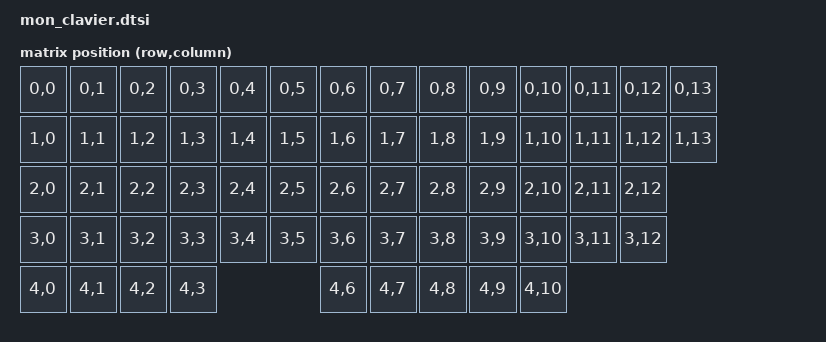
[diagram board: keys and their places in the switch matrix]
#include <dt-bindings/zmk/matrix_transform.h>
#include <physical_layouts.dtsi>

/ {
    matrix_transform0: matrix_transform_0 {
        compatible = "zmk,matrix-transform";
        columns = <14>; // 6 colonnes à gauche + 8 colonnes à droite
        rows = <5>;

        map = <
            // RANGÉE 0 : 6 touches à gauche (0-5), 8 touches à droite (6-13)
            RC(0,0) RC(0,1) RC(0,2) RC(0,3) RC(0,4) RC(0,5) RC(0,6) RC(0,7) RC(0,8) RC(0,9) RC(0,10) RC(0,11) RC(0,12) RC(0,13)
            // RANGÉE 1 : 6 touches à gauche (0-5), 8 touches à droite (6-13)
            RC(1,0) RC(1,1) RC(1,2) RC(1,3) RC(1,4) RC(1,5) RC(1,6) RC(1,7) RC(1,8) RC(1,9) RC(1,10) RC(1,11) RC(1,12) RC(1,13)
            // RANGÉE 2 : 6 touches à gauche (0-5), 7 touches à droite (6-12)
            RC(2,0) RC(2,1) RC(2,2) RC(2,3) RC(2,4) RC(2,5) RC(2,6) RC(2,7) RC(2,8) RC(2,9) RC(2,10) RC(2,11) RC(2,12)
            // RANGÉE 3 : 7 touches à gauche (0-6), 6 touches à droite (7-12)
            RC(3,0) RC(3,1) RC(3,2) RC(3,3) RC(3,4) RC(3,5) RC(3,6) RC(3,7) RC(3,8) RC(3,9) RC(3,10) RC(3,11) RC(3,12)
            // RANGÉE 4 : 4 touches à gauche (0-3), 5 touches à droite (6-10)
            RC(4,0) RC(4,1) RC(4,2) RC(4,3)                 RC(4,6) RC(4,7) RC(4,8) RC(4,9) RC(4,10)
        >;
    };

    physical_layout0: physical_layout_0 {
        compatible = "zmk,physical-layout";
        display-name = "Mon Clavier Split 110mAh";
        transform = <&matrix_transform0>;

        keys {
            /* --- RANGÉE 0 (ROW0) --- */
            &key_physical_attrs { width = <100>; height = <100>; x = <0>; y = <0>; }; // Esc
            &key_physical_attrs { width = <100>; height = <100>; x = <100>; y = <0>; }; // 1
            &key_physical_attrs { width = <100>; height = <100>; x = <200>; y = <0>; }; // 2
            &key_physical_attrs { width = <100>; height = <100>; x = <300>; y = <0>; }; // 3
            &key_physical_attrs { width = <100>; height = <100>; x = <400>; y = <0>; }; // 4
            &key_physical_attrs { width = <100>; height = <100>; x = <500>; y = <0>; }; // 5
            &key_physical_attrs { width = <100>; height = <100>; x = <600>; y = <0>; }; // 6
            &key_physical_attrs { width = <100>; height = <100>; x = <700>; y = <0>; }; // 7
            &key_physical_attrs { width = <100>; height = <100>; x = <800>; y = <0>; }; // 8
            &key_physical_attrs { width = <100>; height = <100>; x = <900>; y = <0>; }; // 9
            &key_physical_attrs { width = <100>; height = <100>; x = <1000>; y = <0>; }; // 0
            &key_physical_attrs { width = <100>; height = <100>; x = <1100>; y = <0>; }; // -
            &key_physical_attrs { width = <100>; height = <100>; x = <1200>; y = <0>; }; // =
            &key_physical_attrs { width = <200>; height = <100>; x = <1300>; y = <0>; }; // Backspace

            /* --- RANGÉE 1 (ROW1) --- */
            &key_physical_attrs { width = <150>; height = <100>; x = <0>; y = <100>; }; // Tab
            &key_physical_attrs { width = <100>; height = <100>; x = <150>; y = <100>; }; // A
            &key_physical_attrs { width = <100>; height = <100>; x = <250>; y = <100>; }; // Z
            &key_physical_attrs { width = <100>; height = <100>; x = <350>; y = <100>; }; // E
            &key_physical_attrs { width = <100>; height = <100>; x = <450>; y = <100>; }; // R
            &key_physical_attrs { width = <100>; height = <100>; x = <550>; y = <100>; }; // T
            &key_physical_attrs { width = <100>; height = <100>; x = <650>; y = <100>; }; // Y
            &key_physical_attrs { width = <100>; height = <100>; x = <750>; y = <100>; }; // U
            &key_physical_attrs { width = <100>; height = <100>; x = <850>; y = <100>; }; // I
            &key_physical_attrs { width = <100>; height = <100>; x = <950>; y = <100>; }; // O
            &key_physical_attrs { width = <100>; height = <100>; x = <1050>; y = <100>; }; // P
            &key_physical_attrs { width = <100>; height = <100>; x = <1150>; y = <100>; }; // [
            &key_physical_attrs { width = <100>; height = <100>; x = <1250>; y = <100>; }; // ]
            &key_physical_attrs { width = <150>; height = <100>; x = <1350>; y = <100>; }; // Enter (Top part)

            /* --- RANGÉE 2 (ROW2) --- */
            &key_physical_attrs { width = <175>; height = <100>; x = <0>; y = <200>; }; // Caps Lock
            &key_physical_attrs { width = <100>; height = <100>; x = <175>; y = <200>; }; // Q
            &key_physical_attrs { width = <100>; height = <100>; x = <275>; y = <200>; }; // S
            &key_physical_attrs { width = <100>; height = <100>; x = <375>; y = <200>; }; // D
            &key_physical_attrs { width = <100>; height = <100>; x = <475>; y = <200>; }; // F
            &key_physical_attrs { width = <100>; height = <100>; x = <575>; y = <200>; }; // G
            &key_physical_attrs { width = <100>; height = <100>; x = <675>; y = <200>; }; // H
            &key_physical_attrs { width = <100>; height = <100>; x = <775>; y = <200>; }; // J
            &key_physical_attrs { width = <100>; height = <100>; x = <875>; y = <200>; }; // K
            &key_physical_attrs { width = <100>; height = <100>; x = <975>; y = <200>; }; // L
            &key_physical_attrs { width = <100>; height = <100>; x = <1075>; y = <200>; }; // M / :
            &key_physical_attrs { width = <100>; height = <100>; x = <1175>; y = <200>; }; // ^
            &key_physical_attrs { width = <100>; height = <100>; x = <1275>; y = <200>; }; // # / ~

            /* --- RANGÉE 3 (ROW3) --- */
            &key_physical_attrs { width = <125>; height = <100>; x = <0>; y = <300>; }; // Shift L
            &key_physical_attrs { width = <100>; height = <100>; x = <125>; y = <300>; }; // <
            &key_physical_attrs { width = <100>; height = <100>; x = <225>; y = <300>; }; // W
            &key_physical_attrs { width = <100>; height = <100>; x = <325>; y = <300>; }; // X
            &key_physical_attrs { width = <100>; height = <100>; x = <425>; y = <300>; }; // C
            &key_physical_attrs { width = <100>; height = <100>; x = <525>; y = <300>; }; // V
            &key_physical_attrs { width = <100>; height = <100>; x = <625>; y = <300>; }; // B
            &key_physical_attrs { width = <100>; height = <100>; x = <725>; y = <300>; }; // N
            &key_physical_attrs { width = <100>; height = <100>; x = <825>; y = <300>; }; // M
            &key_physical_attrs { width = <100>; height = <100>; x = <925>; y = <300>; }; // ,
            &key_physical_attrs { width = <100>; height = <100>; x = <1025>; y = <300>; }; // .
            &key_physical_attrs { width = <100>; height = <100>; x = <1125>; y = <300>; }; // /
            &key_physical_attrs { width = <275>; height = <100>; x = <1225>; y = <300>; }; // Shift R

            /* --- RANGÉE 4 (ROW4) --- */
            &key_physical_attrs { width = <150>; height = <100>; x = <0>; y = <400>; }; // Ctrl L
            &key_physical_attrs { width = <100>; height = <100>; x = <150>; y = <400>; }; // Win L
            &key_physical_attrs { width = <125>; height = <100>; x = <250>; y = <400>; }; // Alt L
            &key_physical_attrs { width = <225>; height = <100>; x = <375>; y = <400>; }; // Space L
            &key_physical_attrs { width = <400>; height = <100>; x = <600>; y = <400>; }; // Space R
            &key_physical_attrs { width = <125>; height = <100>; x = <1000>; y = <400>; }; // Alt Gr
            &key_physical_attrs { width = <125>; height = <100>; x = <1125>; y = <400>; }; // Win R
            &key_physical_attrs { width = <125>; height = <100>; x = <1250>; y = <400>; }; // FN / Menu (Vide)
            &key_physical_attrs { width = <125>; height = <100>; x = <1375>; y = <400>; }; // Studio Unlock (Ctrl R)
        };
    };
};
